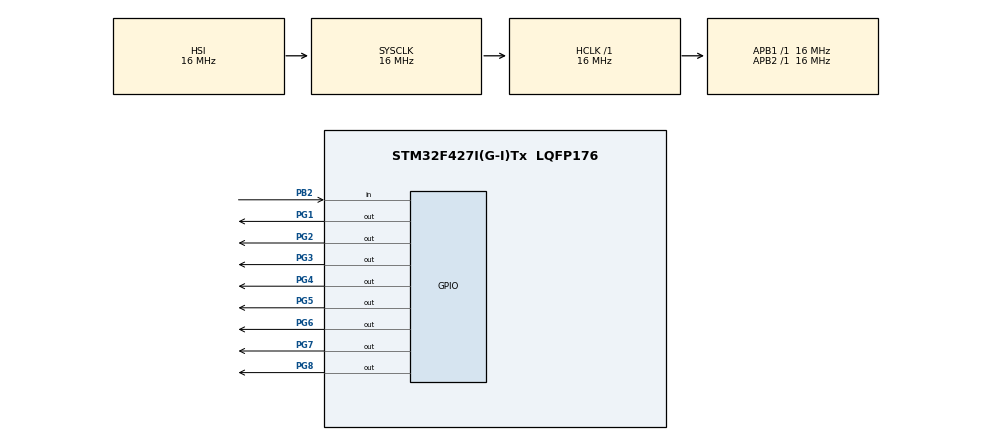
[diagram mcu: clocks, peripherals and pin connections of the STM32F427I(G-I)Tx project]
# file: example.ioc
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Mcu.Family=STM32F4
Mcu.Name=STM32F427I(G-I)Tx
Mcu.Package=LQFP176
NVIC.PriorityGroup=NVIC_PRIORITYGROUP_4
PB2/BOOT1.GPIO_PuPd=GPIO_PULLDOWN
PB2/BOOT1.Signal=GPIO_Input
PG1.Signal=GPIO_Output
PG2.Signal=GPIO_Output
PG3.Signal=GPIO_Output
PG4.Signal=GPIO_Output
PG5.Signal=GPIO_Output
PG6.Signal=GPIO_Output
PG7.Signal=GPIO_Output
PG8.Signal=GPIO_Output
ProjectManager.HeapSize=0x200
ProjectManager.StackSize=0x400
ProjectManager.TargetToolchain=MDK-ARM V5
RCC.AHBFreq_Value=16000000
RCC.APB1Freq_Value=16000000
RCC.APB2Freq_Value=16000000
RCC.CortexFreq_Value=16000000
RCC.HSE_VALUE=25000000
RCC.HSI_VALUE=16000000
RCC.LSE_VALUE=32768
RCC.SYSCLKFreq_VALUE=16000000
RCC.VCOOutputFreq_Value=192000000
board=custom

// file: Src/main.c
/* USER CODE BEGIN Header */
/**
  ******************************************************************************
  * @file           : main.c
  * @brief          : Main program body
  ******************************************************************************
  * @attention
  *
  * <h2><center>&copy; Copyright (c) 2019 STMicroelectronics.
  * All rights reserved.</center></h2>
  *
  * This software component is licensed by ST under BSD 3-Clause license,
  * the "License"; You may not use this file except in compliance with the
  * License. You may obtain a copy of the License at:
  *                        opensource.org/licenses/BSD-3-Clause
  *
  ******************************************************************************
  */
/* USER CODE END Header */

#include "main.h"
#include "gpio.h"

void SystemClock_Config(void);

int main(void)
{

  /* MCU Configuration--------------------------------------------------------*/

  /* Reset of all peripherals, Initializes the Flash interface and the Systick. */
  HAL_Init();

  /* Configure the system clock */
  SystemClock_Config();

  /* Initialize all configured peripherals */
  MX_GPIO_Init();

  /* Infinite loop */
  while (1)
  {

    /* USER CODE BEGIN 3 */
			if(HAL_GPIO_ReadPin(GPIOB, GPIO_PIN_2))
		HAL_GPIO_WritePin(GPIOG, GPIO_PIN_1|GPIO_PIN_2|GPIO_PIN_3|GPIO_PIN_4|GPIO_PIN_5|GPIO_PIN_6|GPIO_PIN_7|GPIO_PIN_8, GPIO_PIN_RESET);
		else
		{
					HAL_GPIO_WritePin(GPIOG, GPIO_PIN_1, GPIO_PIN_RESET);
					HAL_Delay(50);
					HAL_GPIO_WritePin(GPIOG, GPIO_PIN_2, GPIO_PIN_RESET);
					HAL_Delay(50);
					HAL_GPIO_WritePin(GPIOG, GPIO_PIN_3, GPIO_PIN_RESET);
					HAL_Delay(50);
					HAL_GPIO_WritePin(GPIOG, GPIO_PIN_4, GPIO_PIN_RESET);
					HAL_Delay(50);
					HAL_GPIO_WritePin(GPIOG, GPIO_PIN_5, GPIO_PIN_RESET);
					HAL_Delay(50);
					HAL_GPIO_WritePin(GPIOG, GPIO_PIN_6, GPIO_PIN_RESET);
					HAL_Delay(50);
					HAL_GPIO_WritePin(GPIOG, GPIO_PIN_7, GPIO_PIN_RESET);
					HAL_Delay(50);
					HAL_GPIO_WritePin(GPIOG, GPIO_PIN_8, GPIO_PIN_RESET);
					HAL_Delay(50);
					HAL_GPIO_TogglePin(GPIOG, GPIO_PIN_1);
					HAL_Delay(50);
					HAL_GPIO_TogglePin(GPIOG, GPIO_PIN_2);
					HAL_Delay(50);
					HAL_GPIO_TogglePin(GPIOG, GPIO_PIN_3);
					HAL_Delay(50);
					HAL_GPIO_TogglePin(GPIOG, GPIO_PIN_4);
					HAL_Delay(50);
					HAL_GPIO_TogglePin(GPIOG, GPIO_PIN_5);
					HAL_Delay(50);
					HAL_GPIO_TogglePin(GPIOG, GPIO_PIN_6);
					HAL_Delay(50);
					HAL_GPIO_TogglePin(GPIOG, GPIO_PIN_7);
					HAL_Delay(50);
					HAL_GPIO_TogglePin(GPIOG, GPIO_PIN_8);
					HAL_Delay(50);
		}

  }
  /* USER CODE END 3 */
}

void SystemClock_Config(void)
{
  RCC_OscInitTypeDef RCC_OscInitStruct = {0};
  RCC_ClkInitTypeDef RCC_ClkInitStruct = {0};

  /** Configure the main internal regulator output voltage
  */
  __HAL_RCC_PWR_CLK_ENABLE();
  __HAL_PWR_VOLTAGESCALING_CONFIG(PWR_REGULATOR_VOLTAGE_SCALE3);
  /** Initializes the CPU, AHB and APB busses clocks
  */
  RCC_OscInitStruct.OscillatorType = RCC_OSCILLATORTYPE_HSI;
  RCC_OscInitStruct.HSIState = RCC_HSI_ON;
  RCC_OscInitStruct.HSICalibrationValue = RCC_HSICALIBRATION_DEFAULT;
  RCC_OscInitStruct.PLL.PLLState = RCC_PLL_NONE;
  if (HAL_RCC_OscConfig(&RCC_OscInitStruct) != HAL_OK)
  {
    Error_Handler();
  }
  /** Initializes the CPU, AHB and APB busses clocks
  */
  RCC_ClkInitStruct.ClockType = RCC_CLOCKTYPE_HCLK|RCC_CLOCKTYPE_SYSCLK
                              |RCC_CLOCKTYPE_PCLK1|RCC_CLOCKTYPE_PCLK2;
  RCC_ClkInitStruct.SYSCLKSource = RCC_SYSCLKSOURCE_HSI;
  RCC_ClkInitStruct.AHBCLKDivider = RCC_SYSCLK_DIV1;
  RCC_ClkInitStruct.APB1CLKDivider = RCC_HCLK_DIV1;
  RCC_ClkInitStruct.APB2CLKDivider = RCC_HCLK_DIV1;

  if (HAL_RCC_ClockConfig(&RCC_ClkInitStruct, FLASH_LATENCY_0) != HAL_OK)
  {
    Error_Handler();
  }
}

void Error_Handler(void)
{
}

/************************ (C) COPYRIGHT STMicroelectronics *****END OF FILE****/
